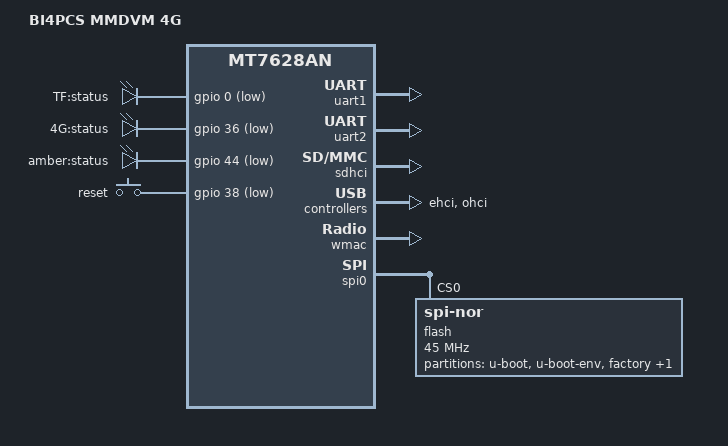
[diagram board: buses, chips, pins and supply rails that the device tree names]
#include "mt7628an.dtsi"

#include <dt-bindings/gpio/gpio.h>
#include <dt-bindings/input/input.h>

/ {
	compatible = "xiaomi,miwifi-nano", "mediatek,mt7628an-soc";
	model = " BI4PCS MMDVM 4G";

	aliases {
		led-boot = &led_status_TF;
		led-failsafe = &led_status_4G;
		led-running = &led_status_amber;
		led-upgrade = &led_status_4G;
		label-mac-device = &ethernet;
	};

	chosen {
		bootargs = "console=ttyS0,115200";
	};

	leds {
		compatible = "gpio-leds";

		led_status_TF: status_TF {
			label = "TF:status";
			gpios = <&gpio 0 GPIO_ACTIVE_LOW>;
		};

		led_status_4G: status_4G {
			label = "4G:status";
			gpios = <&gpio 36 GPIO_ACTIVE_LOW>;
		};

		led_status_amber: status_amber {
			label = "amber:status";
			gpios = <&gpio 44 GPIO_ACTIVE_LOW>;
		};
	};

	keys {
		compatible = "gpio-keys";

		reset {
			label = "reset";
			gpios = <&gpio 38 GPIO_ACTIVE_LOW>;
			linux,code = <KEY_RESTART>;
		};
	};
};

&state_default {
	gpio {
		groups = "gpio", "refclk", "wdt", "wled_an";
		function = "gpio";
	};
};

&uart1 {
	status = "okay";
};

&uart2 {
	status = "okay";
};

&sdhci {
	status = "okay";
	mediatek,cd-low;
	
};

&ehci {
	status = "okay";
	
};

&ohci {
	status = "okay";
	
};

&esw {
	mediatek,portmap = <0x2f>;
	mediatek,portdisable = <0x2a>;
};

&wmac {
	status = "okay";
};

&ethernet {
	mtd-mac-address = <&factory 0x28>;
};

&spi0 {
	status = "okay";

	flash@0 {
		compatible = "jedec,spi-nor";
		reg = <0>;
		spi-max-frequency = <45000000>;
		broken-flash-reset;

		partitions {
			compatible = "fixed-partitions";
			#address-cells = <1>;
			#size-cells = <1>;

			partition@0 {
				label = "u-boot";
				reg = <0x0 0x30000>;
				read-only;
			};

			partition@30000 {
				label = "u-boot-env";
				reg = <0x30000 0x10000>;
			};

			factory: partition@40000 {
				label = "factory";
				reg = <0x40000 0x10000>;
				read-only;
			};

			partition@50000 {
				compatible = "denx,uimage";
				label = "firmware";
				reg = <0x50000 0x1fb0000>;
			};
		};
	};
};
